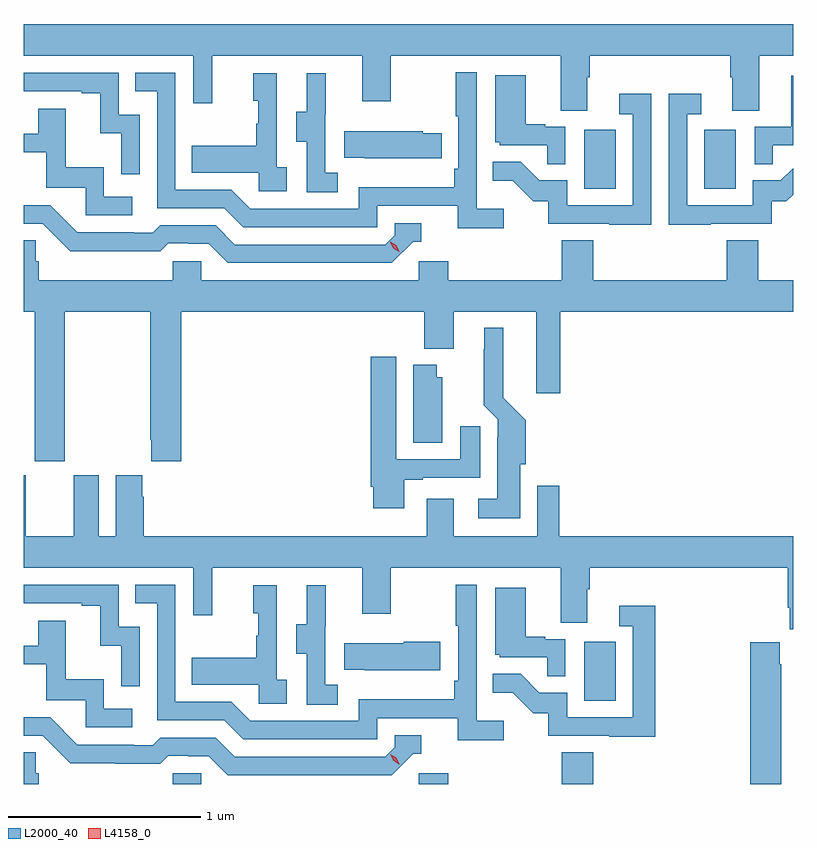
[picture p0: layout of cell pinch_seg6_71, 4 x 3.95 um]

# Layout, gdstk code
import gdstk
lib = gdstk.Library(unit=1e-6, precision=1e-09)
def R(c, l, rs):  # rectangles x0, y0, x1, y1
    for r in rs: c.add(gdstk.rectangle(r[:2], r[2:], *l))
def P(c, l, *ps):  # polygons
    for p in ps: c.add(gdstk.Polygon(p, *l))
L2000_40 = (2000, 40)
L4158_0 = (4158, 0)

pinch_seg6_71 = lib.new_cell('pinch_seg6_71')
R(pinch_seg6_71, L2000_40, [(891.825,930.227,891.975,930.282), (893.106,930.227,893.258,930.282), (893.849,930.227,894.014,930.392), (893.966,930.66,894.13,930.967), (893.966,933.324,894.13,933.631), (894.59,933.324,894.754,933.631)])
P(pinch_seg6_71, L2000_40, [(893.983,933.904),(893.996,933.904),(893.996,934.016),(894.725,934.016),(894.725,933.904),(894.737,933.904),(894.737,933.73),(894.877,933.73),(894.877,934.016),(895.052,934.016),(895.052,934.18),(891.052,934.18),(891.052,934.016),(891.933,934.016),(891.933,933.768),(892.031,933.768),(892.031,934.016),(892.811,934.016),(892.811,933.777),(892.959,933.777),(892.959,934.016),(893.843,934.016),(893.843,933.73),(893.983,933.73)],
  [(893.548,933.22),(893.406,933.22),(893.406,933.928),(893.298,933.928),(893.298,933.7),(893.31,933.7),(893.31,933.427),(893.29,933.427),(893.29,933.331),(892.794,933.331),(892.794,933.219),(892.23,933.219),(892.131,933.318),(891.84,933.318),(891.84,933.927),(891.631,933.927),(891.631,933.831),(891.744,933.831),(891.744,933.222),(892.094,933.222),(892.193,933.123),(892.89,933.123),(892.89,933.234),(893.309,933.234),(893.309,933.118),(893.548,933.118)],
  [(891.654,933.708),(891.546,933.708),(891.546,933.927),(891.052,933.927),(891.052,933.831),(891.353,933.831),(891.353,933.819),(891.449,933.819),(891.449,933.611),(891.558,933.611),(891.558,933.399),(891.654,933.399)],
  [(892.42,933.434),(892.368,933.434),(892.368,933.925),(892.244,933.925),(892.244,933.78),(892.27,933.78),(892.27,933.662),(892.26,933.662),(892.26,933.547),(891.925,933.547),(891.925,933.407),(892.272,933.407),(892.272,933.309),(892.42,933.309)],
  [(892.684,933.407),(892.62,933.407),(892.62,933.711),(892.622,933.711),(892.622,933.925),(892.523,933.925),(892.523,933.723),(892.469,933.723),(892.469,933.568),(892.524,933.568),(892.524,933.304),(892.684,933.304)],
  [(893.868,933.645),(893.762,933.645),(893.762,933.658),(893.662,933.658),(893.662,933.913),(893.504,933.913),(893.504,933.564),(893.526,933.564),(893.526,933.549),(893.773,933.549),(893.773,933.451),(893.868,933.451)],
  [(894.947,933.549),(895.052,933.549),(895.052,933.91),(895.043,933.91),(895.043,933.645),(894.852,933.645),(894.852,933.451),(894.947,933.451)],
  [(894.623,933.141),(894.942,933.141),(894.942,933.258),(895.018,933.258),(895.052,933.292),(895.052,933.431),(894.987,933.366),(894.843,933.366),(894.843,933.237),(894.501,933.237),(894.501,933.711),(894.574,933.711),(894.574,933.817),(894.405,933.817),(894.405,933.136),(894.623,933.136)],
  [(894.315,933.817),(894.147,933.817),(894.147,933.711),(894.219,933.711),(894.219,933.237),(893.877,933.237),(893.877,933.366),(893.733,933.366),(893.635,933.464),(893.491,933.464),(893.491,933.365),(893.595,933.365),(893.702,933.258),(893.779,933.258),(893.779,933.141),(894.097,933.141),(894.097,933.136),(894.315,933.136)],
  [(891.616,933.282),(891.468,933.282),(891.468,933.436),(891.269,933.436),(891.269,933.739),(891.125,933.739),(891.125,933.609),(891.052,933.609),(891.052,933.513),(891.167,933.513),(891.167,933.327),(891.372,933.327),(891.372,933.186),(891.616,933.186)],
  [(893.225,933.612),(893.127,933.612),(893.127,933.622),(892.717,933.622),(892.717,933.485),(892.825,933.485),(892.825,933.482),(893.225,933.482)],
  [(893.076,933.048),(893.119,933.048),(893.119,933.144),(892.98,933.144),(892.98,933.081),(892.932,933.033),(892.149,933.033),(892.05,933.132),(891.761,933.132),(891.722,933.093),(891.623,933.093),(891.623,933.096),(891.33,933.096),(891.189,933.237),(891.052,933.237),(891.052,933.141),(891.15,933.141),(891.292,932.999),(891.528,932.999),(891.528,932.997),(891.761,932.997),(891.803,933.039),(891.906,933.039),(891.906,933.036),(892.013,933.036),(892.112,932.937),(892.965,932.937)],
  [(891.264,932.684),(891.709,932.684),(891.709,932.017),(891.713,932.017),(891.713,931.905),(891.869,931.905),(891.869,932.684),(893.135,932.684),(893.135,932.492),(893.287,932.492),(893.287,932.684),(893.717,932.684),(893.717,932.259),(893.84,932.259),(893.84,932.684),(895.052,932.684),(895.052,932.848),(894.872,932.848),(894.872,933.056),(894.707,933.056),(894.707,932.848),(894.014,932.848),(894.014,933.056),(893.849,933.056),(893.849,932.848),(893.258,932.848),(893.258,932.946),(893.106,932.946),(893.106,932.848),(891.975,932.848),(891.975,932.946),(891.825,932.946),(891.825,932.848),(891.128,932.848),(891.128,932.946),(891.113,932.946),(891.113,933.056),(891.052,933.056),(891.052,932.684),(891.109,932.684),(891.109,931.905),(891.264,931.905)],
  [(893.632,931.89),(893.663,931.89),(893.663,932.118),(893.545,932.236),(893.545,932.599),(893.447,932.599),(893.447,932.489),(893.443,932.489),(893.443,932.198),(893.517,932.124),(893.517,932.03),(893.513,932.03),(893.513,931.711),(893.415,931.711),(893.415,931.61),(893.632,931.61)],
  [(893.029,931.809),(893.125,931.809),(893.125,931.821),(893.425,931.821),(893.425,932.089),(893.321,932.089),(893.321,931.917),(892.987,931.917),(892.987,932.449),(892.856,932.449),(892.856,931.774),(892.868,931.774),(892.868,931.662),(893.029,931.662)],
  [(893.227,932.343),(893.2,932.343),(893.2,932.407),(893.078,932.407),(893.078,932.002),(893.227,932.002)],
  [(895.052,931.516),(893.837,931.516),(893.837,931.777),(893.721,931.777),(893.721,931.516),(893.287,931.516),(893.287,931.711),(893.147,931.711),(893.147,931.516),(891.674,931.516),(891.674,931.721),(891.667,931.721),(891.667,931.834),(891.53,931.834),(891.53,931.516),(891.442,931.516),(891.442,931.834),(891.311,931.834),(891.311,931.516),(891.061,931.516),(891.061,931.834),(891.052,931.834),(891.052,931.352),(891.933,931.352),(891.933,931.104),(892.031,931.104),(892.031,931.352),(892.811,931.352),(892.811,931.113),(892.959,931.113),(892.959,931.352),(893.843,931.352),(893.843,931.066),(893.983,931.066),(893.983,931.24),(893.996,931.24),(893.996,931.352),(895.025,931.352),(895.025,931.144),(895.034,931.144),(895.034,931.032),(895.052,931.032)],
  [(893.548,930.556),(893.406,930.556),(893.406,931.264),(893.298,931.264),(893.298,931.051),(893.31,931.051),(893.31,930.763),(893.29,930.763),(893.29,930.667),(892.794,930.667),(892.794,930.555),(892.23,930.555),(892.131,930.654),(891.84,930.654),(891.84,931.263),(891.631,931.263),(891.631,931.167),(891.744,931.167),(891.744,930.558),(892.094,930.558),(892.193,930.459),(892.89,930.459),(892.89,930.57),(893.309,930.57),(893.309,930.454),(893.548,930.454)],
  [(891.654,931.044),(891.546,931.044),(891.546,931.263),(891.052,931.263),(891.052,931.167),(891.353,931.167),(891.353,931.155),(891.449,931.155),(891.449,930.947),(891.558,930.947),(891.558,930.735),(891.654,930.735)],
  [(892.42,930.77),(892.368,930.77),(892.368,931.261),(892.244,931.261),(892.244,931.116),(892.27,931.116),(892.27,930.998),(892.26,930.998),(892.26,930.883),(891.925,930.883),(891.925,930.743),(892.272,930.743),(892.272,930.645),(892.42,930.645)],
  [(892.684,930.743),(892.62,930.743),(892.62,931.047),(892.622,931.047),(892.622,931.261),(892.523,931.261),(892.523,931.059),(892.469,931.059),(892.469,930.904),(892.524,930.904),(892.524,930.64),(892.684,930.64)],
  [(893.868,930.981),(893.762,930.981),(893.762,930.994),(893.662,930.994),(893.662,931.249),(893.504,931.249),(893.504,930.9),(893.526,930.9),(893.526,930.885),(893.773,930.885),(893.773,930.787),(893.868,930.787)],
  [(894.335,931.153),(894.147,931.153),(894.147,931.047),(894.219,931.047),(894.219,930.573),(893.877,930.573),(893.877,930.702),(893.733,930.702),(893.635,930.8),(893.491,930.8),(893.491,930.701),(893.595,930.701),(893.702,930.594),(893.779,930.594),(893.779,930.477),(894.097,930.477),(894.097,930.472),(894.335,930.472)],
  [(891.616,930.618),(891.468,930.618),(891.468,930.772),(891.269,930.772),(891.269,931.075),(891.125,931.075),(891.125,930.945),(891.052,930.945),(891.052,930.849),(891.167,930.849),(891.167,930.663),(891.372,930.663),(891.372,930.522),(891.616,930.522)],
  [(893.218,930.966),(893.027,930.966),(893.027,930.958),(892.717,930.958),(892.717,930.821),(892.825,930.821),(892.825,930.818),(893.218,930.818)],
  [(894.99,930.851),(894.983,930.851),(894.983,930.964),(894.83,930.964),(894.83,930.227),(894.99,930.227)],
  [(893.076,930.384),(893.119,930.384),(893.119,930.48),(892.98,930.48),(892.98,930.417),(892.932,930.369),(892.149,930.369),(892.05,930.468),(891.761,930.468),(891.722,930.429),(891.623,930.429),(891.623,930.432),(891.33,930.432),(891.189,930.573),(891.052,930.573),(891.052,930.477),(891.15,930.477),(891.292,930.335),(891.528,930.335),(891.528,930.333),(891.761,930.333),(891.803,930.375),(891.906,930.375),(891.906,930.372),(892.013,930.372),(892.112,930.273),(892.965,930.273)],
  [(891.128,930.282),(891.113,930.282),(891.113,930.392),(891.052,930.392),(891.052,930.227),(891.128,930.227)])
P(pinch_seg6_71, L4158_0, [(893.003,932.996),(892.972,933.014),(892.956,933.046),(892.956,933.047),(892.956,933.047),(892.987,933.028),(893.003,932.996),(893.003,932.996)],
  [(893.002,930.33),(892.972,930.35),(892.956,930.383),(892.956,930.383),(892.956,930.383),(892.987,930.363),(893.003,930.331),(893.003,930.33)])

lib.write_gds('pinch_seg6_71.gds')
